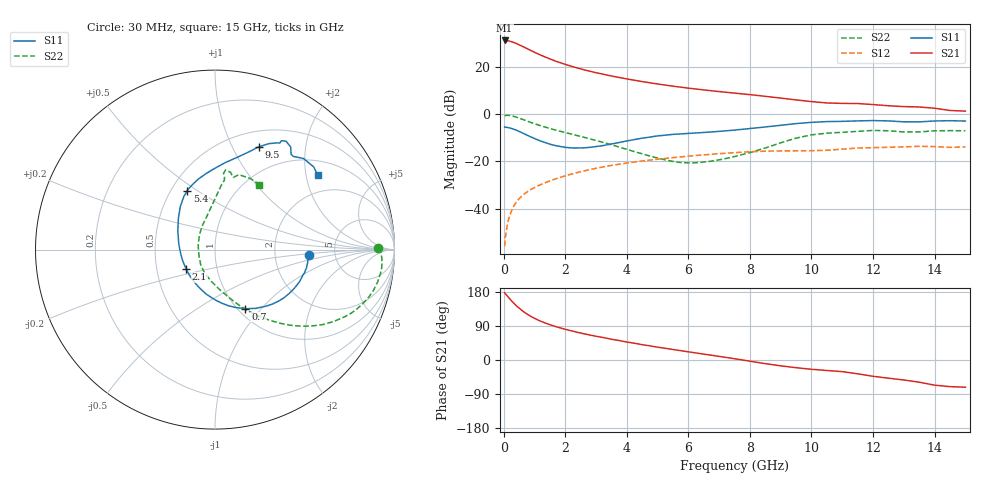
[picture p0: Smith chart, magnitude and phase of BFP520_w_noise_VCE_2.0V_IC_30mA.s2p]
! Infineon Technologies  Discrete & RF Semiconductors
! BFP520
! VCE =  2.0 V,  IC =  30 mA
! Common Emitter S-Parameters:  Oct 2015
# GHz  S  MA  R  50
!  f  S11  S21  S12  S22
! GHz  MAG  ANG  MAG  ANG  MAG  ANG  MAG  ANG
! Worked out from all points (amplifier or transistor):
!   109 points, 30 MHz to 15 GHz, reference 50 ohm
!   highest |S21| = 31.0 dB at 30 MHz (marker M1)
!   |S21| within 3 dB of that: start of sweep to 687 MHz
!   unconditionally stable (mu >= 1): 2.466 GHz to end of sweep
!   at 450 MHz: K = 0.41, MSG = 33.1 dB, |S12| = -36.6 dB
!   at 4 GHz: K = 1.12, MAG = 15.7 dB, |S12| = -20.8 dB
!   at 15 GHz: K = 1.25, MAG = 4.5 dB, |S12| = -13.9 dB
!   lowest NFmin = 2.46 dB at 900 MHz
!   S11 on the Smith chart (normalised r, x): 30 MHz: 3.19, -0.25; 700 MHz: 1.08, -0.82; 2.1 GHz: 0.71, -0.16; 5.4 GHz: 0.60, +0.46; 9.5 GHz: 0.68, +1.28; 15 GHz: 1.42, +2.34
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0.03  0.5253 -3.1  35.63 177.2  0.0016 108.3  0.9091 0.5
0.12  0.517 -12.7  35.16 168.7  0.0045 86.3  0.9342 -5.9
0.2  0.5039 -20.8  34.36 161.2  0.0072 82.8  0.9242 -11.2
0.25  0.493 -25.5  33.66 156.6  0.0088 80.8  0.912 -14.4
0.35  0.469 -34.9  31.91 148.2  0.0119 77.5  0.8773 -20.0
0.5  0.4263 -47.5  28.89 137.0  0.0161 73.8  0.8147 -27.3
0.6  0.3979 -55.4  26.91 130.3  0.0186 71.9  0.7713 -31.4
0.7  0.3702 -62.8  24.98 124.4  0.021 70.4  0.7294 -35.0
0.8  0.3448 -69.7  23.18 119.1  0.0233 69.2  0.6903 -38.0
1  0.3012 -82.7  20.08 110.1  0.0277 67.3  0.6209 -43.2
1.3  0.2534 -100.8  16.41 99.2  0.0341 65.3  0.5374 -49.3
1.7  0.2125 -123.9  12.97 87.9  0.0426 62.8  0.4531 -55.8
2.1  0.193 -146.0  10.63 79.0  0.0512 60.2  0.3884 -61.4
2.6  0.1919 -171.9  8.585 69.3  0.062 56.5  0.3213 -68.3
3.5  0.2314 153.5  6.32 54.7  0.0814 48.6  0.2225 -83.8
5.1  0.3473 119.2  4.193 32.7  0.1117 33.6  0.1125 -135.9
5.4  0.3633 115.1  3.932 29.0  0.1171 30.9  0.1016 -147.4
7.6  0.4616 88.2  2.708 2.1  0.1529 9.9  0.1302 128.3
9.5  0.624 66.8  1.975 -20.3  0.1656 -8.6  0.3073 87.9
10.5  0.6874 59.9  1.701 -27.7  0.1702 -13.8  0.3913 82.3
13  0.6795 51.4  1.424 -52.7  0.2011 -35.3  0.4147 75.8
15  0.706 35.8  1.143 -71.8  0.2007 -51.7  0.4389 55.7
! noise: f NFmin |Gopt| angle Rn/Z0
0.45  2.47  0.05  -117  0.28
0.9  2.46  0.06  -118  0.32
1.9  2.61  0.11  -111  0.3
2.4  2.62  0.13  -109  0.3
3.5  2.57  0.15  -102  0.33
